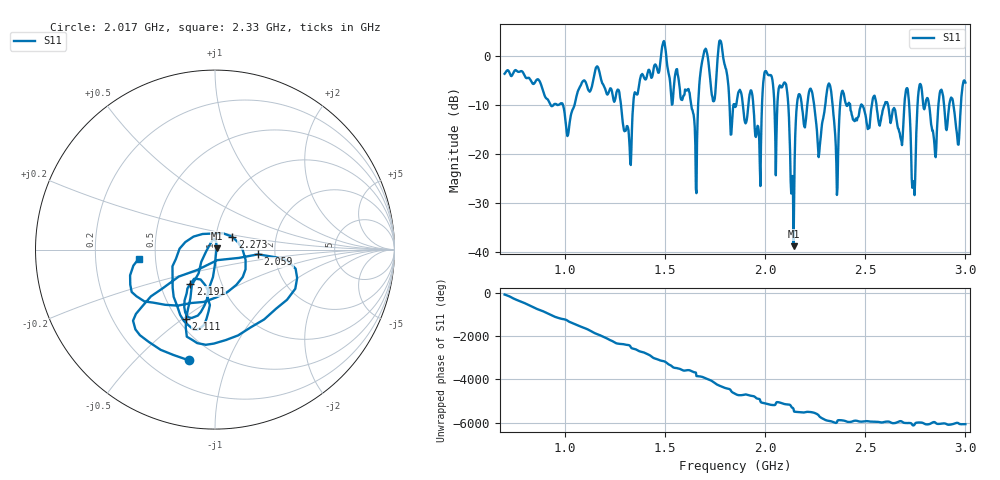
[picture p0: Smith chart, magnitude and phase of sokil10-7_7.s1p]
# HZ S RI R 50
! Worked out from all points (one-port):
!   808 points, 700 MHz to 3 GHz, reference 50 ohm
!   lowest |S11| = -38.9 dB at 2.142 GHz (marker M1), VSWR 1.02, Z = 50.9 + j0.654 ohm
!   |S11| at or under -10 dB: 991 MHz to 1.049 GHz (58.43 MHz wide, 5.73 % of centre); 1.281 GHz to 1.342 GHz (61.14 MHz wide, 4.66 % of centre); 2.613 GHz to 2.696 GHz (82.45 MHz wide, 3.11 % of centre)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
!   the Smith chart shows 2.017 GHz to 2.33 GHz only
!   S11 on the Smith chart (normalised r, x): 2.017 GHz: 0.35, -0.73; 2.059 GHz: 1.63, -0.09; 2.111 GHz: 0.55, -0.52; 2.191 GHz: 0.71, -0.29; 2.273 GHz: 1.20, +0.17; 2.33 GHz: 0.40, -0.05
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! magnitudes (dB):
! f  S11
! 700 MHz  -3.7
! 987.9 MHz  -9.7
! 1.276 GHz  -8.6
! 1.324 GHz  -18.8
! 1.492 GHz  2.8
! 1.564 GHz  -3.8
! 1.652 GHz  -18.2
! 1.7 GHz  1.2
! 1.851 GHz  -10.5
! 1.968 GHz  -15.2
! 2.017 GHz  -4.0
! 2.059 GHz  -12.3
! 2.111 GHz  -7.6
! 2.139 GHz  -27.0
! 2.142 GHz  -38.9
! 2.165 GHz  -8.4
! 2.191 GHz  -12.6
! 2.273 GHz  -18.4
! 2.33 GHz  -7.4
! 2.356 GHz  -22.1
! 2.384 GHz  -7.2
! 2.427 GHz  -11.2
! 2.715 GHz  -8.0
! 2.741 GHz  -25.6
! 2.772 GHz  -5.9
! 2.846 GHz  -18.5
! 2.963 GHz  -18.1
! 3 GHz  -5.5
